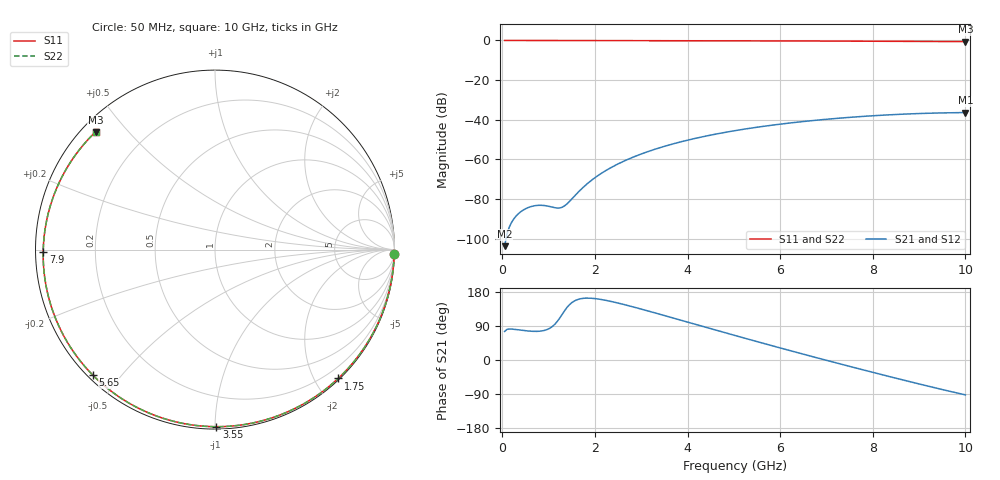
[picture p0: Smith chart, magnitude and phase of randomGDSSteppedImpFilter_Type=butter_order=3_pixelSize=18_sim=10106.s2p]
! freq	dB(S11)	phase(S11)	dB(S12)	phase(S12)
!  dB(S21)	phase(S21)	dB(S22)	phase(S22)
!S-par simulation data
#  GHz  S  DB  R 50
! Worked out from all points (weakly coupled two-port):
!   200 points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, 50 MHz to 10 GHz, reference 50 ohm
!   highest |S21| = -36.36 dB at 10 GHz (marker M1); lowest = -103.7 dB at 50 MHz (marker M2)
!   lowest |S11| = -0.6 dB at 10 GHz (marker M3), VSWR 29.42, Z = 1.98 + j20.5 ohm
!   |S11| at or under -10 dB: nowhere
!   |S22| runs from -0.6 to 0.0 dB; largest |S21 - S12| = 0
!   S11 on the Smith chart (normalised r, x): 50 MHz: 4, -88; 1.75 GHz: 0.02, -2.34; 3.55 GHz: 0.01, -1.01; 5.65 GHz: 0.01, -0.42; 7.9 GHz: 0.02, -0.01; 10 GHz: 0.04, +0.41
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0.05  -0.01 -1.3  -103.70 75.3  -103.70 75.3  -0.01 -1.3
0.4  -0.02 -10.8  -86.32 78.8  -86.32 78.8  -0.02 -10.8
0.75  -0.03 -20.2  -83.17 75.6  -83.17 75.6  -0.03 -20.2
1.1  -0.04 -29.4  -84.13 90.3  -84.13 90.3  -0.04 -29.4
1.5  -0.05 -39.9  -79.94 151.2  -79.94 151.2  -0.05 -39.9
1.75  -0.06 -46.3  -73.97 162.8  -73.97 162.8  -0.06 -46.3
2.05  -0.07 -53.8  -68.38 161.3  -68.38 161.3  -0.07 -53.8
2.45  -0.08 -63.7  -62.83 151.7  -62.83 151.7  -0.08 -63.7
2.9  -0.09 -74.5  -58.13 137.7  -58.13 137.7  -0.09 -74.5
3.4  -0.11 -86.1  -54.08 120.8  -54.08 120.8  -0.11 -86.1
3.55  -0.12 -89.5  -53.04 115.6  -53.04 115.6  -0.12 -89.5
4.25  -0.14 -105.0  -48.94 91.4  -48.94 91.4  -0.14 -105.0
5.05  -0.18 -121.9  -45.37 63.8  -45.37 63.8  -0.18 -121.9
5.65  -0.21 -134.2  -43.26 43.5  -43.26 43.5  -0.21 -134.2
6.2  -0.25 -145.2  -41.64 25.2  -41.64 25.2  -0.25 -145.2
6.7  -0.28 -155.2  -40.39 8.8  -40.39 8.8  -0.28 -155.2
7.3  -0.33 -167.1  -39.13 -10.5  -39.13 -10.5  -0.33 -167.1
7.9  -0.38 -179.2  -38.11 -29.5  -38.11 -29.5  -0.38 -179.2
8.35  -0.42 171.6  -37.50 -43.5  -37.50 -43.5  -0.42 171.6
8.8  -0.47 162.1  -37.02 -57.2  -37.02 -57.2  -0.47 162.1
9.2  -0.51 153.5  -36.70 -69.2  -36.70 -69.2  -0.51 153.5
10  -0.59 135.4  -36.36 -92.0  -36.36 -92.0  -0.59 135.4
